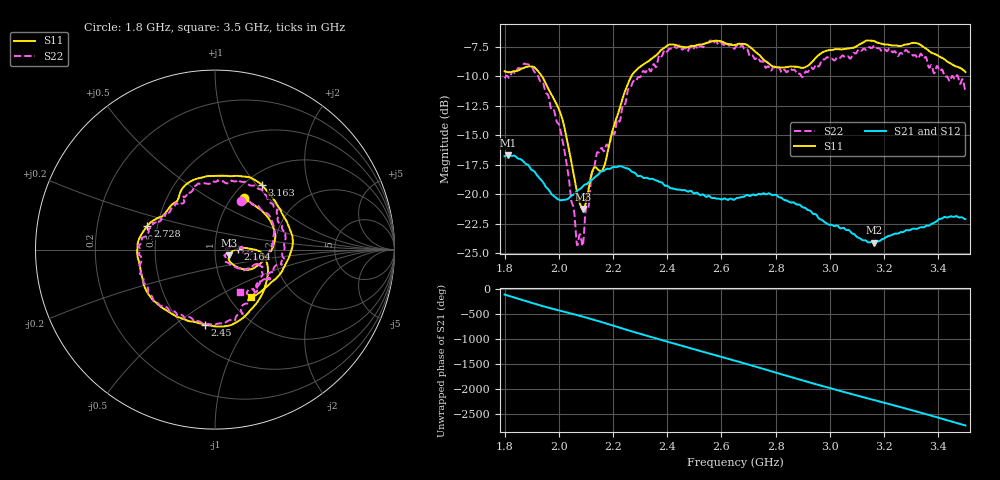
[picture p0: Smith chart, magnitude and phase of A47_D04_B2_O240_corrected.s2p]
! Created with skrf 1.9.0 (http://scikit-rf.org).
# Hz S RI R 50.0
!freq ReS11 ImS11 ReS21 ImS21 ReS12 ImS12 ReS22 ImS22
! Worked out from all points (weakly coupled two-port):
!   1601 points, 1.8 GHz to 3.5 GHz, reference 50 ohm
!   highest |S21| = -16.71 dB at 1.812 GHz (marker M1); lowest = -24.1 dB at 3.162 GHz (marker M2)
!   lowest |S11| = -21.3 dB at 2.09 GHz (marker M3), VSWR 1.19, Z = 58.7 - j3.68 ohm
!   |S11| at or under -10 dB: 1.937 GHz to 2.268 GHz (330.8 MHz wide, 15.7 % of centre)
!   |S22| runs from -24.4 to -7.0 dB; largest |S21 - S12| = 0.0024
!   S11 on the Smith chart (normalised r, x): 1.8 GHz: 1.14, +0.74; 2.164 GHz: 1.30, +0.02; 2.45 GHz: 0.64, -0.65; 2.728 GHz: 0.44, +0.14; 3.163 GHz: 1.18, +1.07; 3.5 GHz: 1.26, -0.74
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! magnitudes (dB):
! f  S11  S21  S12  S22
! 1.8 GHz  -9.6  -16.8  -16.8  -10.2
! 1.812 GHz  -9.7  -16.7  -16.7  -10.0
! 1.881 GHz  -9.2  -17.5  -17.5  -9.0
! 1.941 GHz  -10.1  -19.0  -19.0  -10.5
! 2.007 GHz  -13.2  -20.5  -20.5  -14.7
! 2.066 GHz  -19.6  -19.8  -19.8  -24.1
! 2.084 GHz  -21.1  -19.5  -19.4  -23.9
! 2.09 GHz  -21.3  -19.3  -19.3  -24.2
! 2.129 GHz  -17.8  -18.7  -18.6  -17.9
! 2.164 GHz  -17.8  -18.0  -18.0  -16.3
! 2.263 GHz  -10.2  -18.0  -18.0  -11.0
! 2.367 GHz  -8.0  -18.9  -18.9  -8.4
! 2.45 GHz  -7.5  -19.6  -19.6  -7.6
! 2.65 GHz  -7.4  -20.4  -20.4  -7.6
! 2.728 GHz  -8.0  -20.1  -20.1  -8.5
! 2.801 GHz  -9.2  -20.1  -20.1  -9.4
! 2.934 GHz  -8.8  -21.6  -21.5  -9.3
! 3.162 GHz  -7.0  -24.1  -24.1  -7.4
! 3.163 GHz  -7.0  -24.1  -24.1  -7.4
! 3.217 GHz  -7.4  -23.6  -23.5  -7.7
! 3.324 GHz  -7.2  -22.9  -22.9  -8.5
! 3.5 GHz  -9.7  -22.1  -22.1  -11.2
